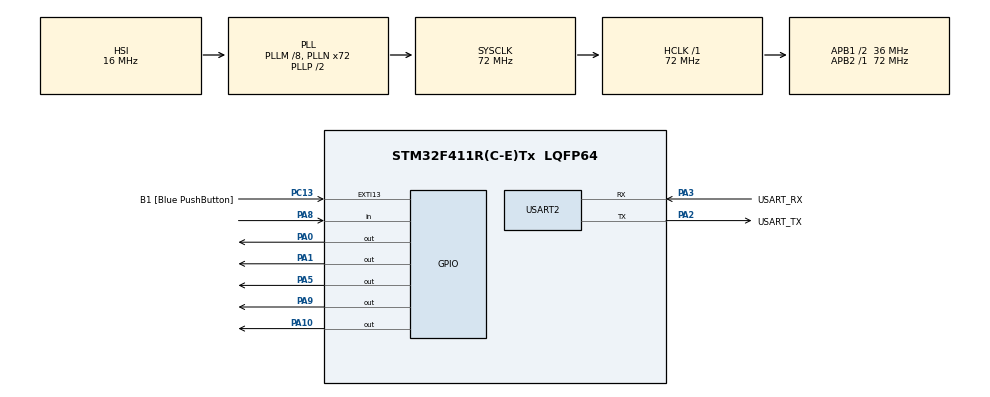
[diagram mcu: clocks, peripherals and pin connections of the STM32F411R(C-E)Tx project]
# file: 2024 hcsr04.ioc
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Mcu.Family=STM32F4
Mcu.Name=STM32F411R(C-E)Tx
Mcu.Package=LQFP64
NVIC.PriorityGroup=NVIC_PRIORITYGROUP_0
PA0-WKUP.Signal=GPIO_Output
PA1.Signal=GPIO_Output
PA10.Signal=GPIO_Output
PA13.GPIO_Label=TMS
PA13.Mode=Serial_Wire
PA13.Signal=SYS_JTMS-SWDIO
PA14.GPIO_Label=TCK
PA14.Mode=Serial_Wire
PA14.Signal=SYS_JTCK-SWCLK
PA2.GPIO_Label=USART_TX
PA2.Mode=Asynchronous
PA2.Signal=USART2_TX
PA3.GPIO_Label=USART_RX
PA3.Mode=Asynchronous
PA3.Signal=USART2_RX
PA5.Signal=GPIO_Output
PA8.Signal=GPIO_Input
PA9.Signal=GPIO_Output
PB3.GPIO_Label=SWO
PB3.Signal=SYS_JTDO-SWO
PC13-ANTI_TAMP.GPIO_Label=B1 [Blue PushButton]
PC13-ANTI_TAMP.GPIO_ModeDefaultEXTI=GPIO_MODE_IT_FALLING
PC13-ANTI_TAMP.Signal=GPXTI13
PC14-OSC32_IN.Mode=LSE-External-Oscillator
PC14-OSC32_IN.Signal=RCC_OSC32_IN
PC15-OSC32_OUT.Mode=LSE-External-Oscillator
PC15-OSC32_OUT.Signal=RCC_OSC32_OUT
PH0\ -\ OSC_IN.Mode=HSE-External-Oscillator
PH0\ -\ OSC_IN.Signal=RCC_OSC_IN
PH1\ -\ OSC_OUT.Mode=HSE-External-Oscillator
PH1\ -\ OSC_OUT.Signal=RCC_OSC_OUT
ProjectManager.HeapSize=0x200
ProjectManager.StackSize=0x400
ProjectManager.TargetToolchain=STM32CubeIDE
RCC.48MHZClocksFreq_Value=36000000
RCC.AHBFreq_Value=72000000
RCC.APB1CLKDivider=RCC_HCLK_DIV2
RCC.APB1Freq_Value=36000000
RCC.APB1TimFreq_Value=72000000
RCC.APB2Freq_Value=72000000
RCC.APB2TimFreq_Value=72000000
RCC.CortexFreq_Value=72000000
RCC.FLatency-AdvancedSettings=FLASH_LATENCY_2
RCC.HCLKFreq_Value=72000000
RCC.HSE_VALUE=8000000
RCC.HSI_VALUE=16000000
RCC.PLLM=8
RCC.PLLN=72
RCC.SYSCLKFreq_VALUE=72000000
RCC.SYSCLKSource=RCC_SYSCLKSOURCE_PLLCLK
RCC.VCOOutputFreq_Value=144000000
TIM1.Prescaler=71
USART2.VirtualMode=VM_ASYNC
VP_TIM1_VS_ClockSourceINT.Mode=Internal
board=NUCLEO-F411RE

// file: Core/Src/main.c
/* USER CODE BEGIN Header */
/**
  ******************************************************************************
  * @file           : main.c
  * @brief          : Main program body
  ******************************************************************************
  * @attention
  *
  * Copyright (c) 2024 STMicroelectronics.
  * All rights reserved.
  *
  * This software is licensed under terms that can be found in the LICENSE file
  * in the root directory of this software component.
  * If no LICENSE file comes with this software, it is provided AS-IS.
  *
  ******************************************************************************
  */
/* USER CODE END Header */
#include "main.h"

TIM_HandleTypeDef htim1;

UART_HandleTypeDef huart2;

/* USER CODE BEGIN PV */
#define TRIG_PIN GPIO_PIN_9
#define TRIG_PORT GPIOA
#define ECHO_PIN GPIO_PIN_8
#define ECHO_PORT GPIOA
uint32_t pMillis;
uint32_t Value1 = 0;
uint32_t Value2 = 0;
uint16_t Distance  = 0;  // cm
uint8_t buffer[20];
/* USER CODE END PV */

void SystemClock_Config(void);
static void MX_GPIO_Init(void);
static void MX_USART2_UART_Init(void);
static void MX_TIM1_Init(void);

int main(void)
{

  /* MCU Configuration--------------------------------------------------------*/

  /* Reset of all peripherals, Initializes the Flash interface and the Systick. */
  HAL_Init();

  /* Configure the system clock */
  SystemClock_Config();

  /* Initialize all configured peripherals */
  MX_GPIO_Init();
  MX_USART2_UART_Init();
  MX_TIM1_Init();
  /* USER CODE BEGIN 2 */
  HAL_TIM_Base_Start(&htim1);
    HAL_GPIO_WritePin(TRIG_PORT, TRIG_PIN, GPIO_PIN_RESET);  // pull the TRIG pin low
  /* USER CODE END 2 */

  /* Infinite loop */
  /* USER CODE BEGIN WHILE */
  while (1)
  {
	  HAL_GPIO_WritePin(TRIG_PORT, TRIG_PIN, GPIO_PIN_SET);  // pull the TRIG pin HIGH
	     __HAL_TIM_SET_COUNTER(&htim1, 0);
	     while (__HAL_TIM_GET_COUNTER (&htim1) < 10);  // wait for 10 us
	     HAL_GPIO_WritePin(TRIG_PORT, TRIG_PIN, GPIO_PIN_RESET);  // pull the TRIG pin low

	     pMillis = HAL_GetTick(); // used this to avoid infinite while loop  (for timeout)
	     // wait for the echo pin to go high
	     while (!(HAL_GPIO_ReadPin (ECHO_PORT, ECHO_PIN)) && pMillis + 10 >  HAL_GetTick());
	     Value1 = __HAL_TIM_GET_COUNTER (&htim1);

	     pMillis = HAL_GetTick(); // used this to avoid infinite while loop (for timeout)
	     // wait for the echo pin to go low
	     while ((HAL_GPIO_ReadPin (ECHO_PORT, ECHO_PIN)) && pMillis + 50 > HAL_GetTick());
	     Value2 = __HAL_TIM_GET_COUNTER (&htim1);

	     Distance = (Value2-Value1)* 0.034/2;
	     HAL_Delay(50);

		 sprintf(buffer, "Distance %d \r\n", Distance);
				 HAL_UART_Transmit(&huart2, buffer, strlen(buffer), HAL_MAX_DELAY);

				 if(Distance > 40)
				 {
					 HAL_GPIO_WritePin(GPIOA, GPIO_PIN_10, GPIO_PIN_RESET);
					 HAL_GPIO_WritePin(GPIOA, GPIO_PIN_1, GPIO_PIN_RESET);
					 HAL_GPIO_WritePin(GPIOA, GPIO_PIN_0, GPIO_PIN_SET);
				 }
				  if(Distance < 30){
					 HAL_GPIO_WritePin(GPIOA, GPIO_PIN_10, GPIO_PIN_RESET);
					 HAL_GPIO_WritePin(GPIOA, GPIO_PIN_0, GPIO_PIN_RESET);
					 HAL_GPIO_WritePin(GPIOA, GPIO_PIN_1, GPIO_PIN_SET);
				 }
				 if(Distance < 15){
					 HAL_GPIO_WritePin(GPIOA, GPIO_PIN_0, GPIO_PIN_RESET);
					 HAL_GPIO_WritePin(GPIOA, GPIO_PIN_1, GPIO_PIN_RESET);
				     HAL_GPIO_WritePin(GPIOA, GPIO_PIN_10, GPIO_PIN_SET);}
    /* USER CODE END WHILE */

  }
}

void SystemClock_Config(void)
{
  RCC_OscInitTypeDef RCC_OscInitStruct = {0};
  RCC_ClkInitTypeDef RCC_ClkInitStruct = {0};

  /** Configure the main internal regulator output voltage
  */
  __HAL_RCC_PWR_CLK_ENABLE();
  __HAL_PWR_VOLTAGESCALING_CONFIG(PWR_REGULATOR_VOLTAGE_SCALE1);

  /** Initializes the RCC Oscillators according to the specified parameters
  * in the RCC_OscInitTypeDef structure.
  */
  RCC_OscInitStruct.OscillatorType = RCC_OSCILLATORTYPE_HSI;
  RCC_OscInitStruct.HSIState = RCC_HSI_ON;
  RCC_OscInitStruct.HSICalibrationValue = RCC_HSICALIBRATION_DEFAULT;
  RCC_OscInitStruct.PLL.PLLState = RCC_PLL_ON;
  RCC_OscInitStruct.PLL.PLLSource = RCC_PLLSOURCE_HSI;
  RCC_OscInitStruct.PLL.PLLM = 8;
  RCC_OscInitStruct.PLL.PLLN = 72;
  RCC_OscInitStruct.PLL.PLLP = RCC_PLLP_DIV2;
  RCC_OscInitStruct.PLL.PLLQ = 4;
  if (HAL_RCC_OscConfig(&RCC_OscInitStruct) != HAL_OK)
  {
    Error_Handler();
  }

  /** Initializes the CPU, AHB and APB buses clocks
  */
  RCC_ClkInitStruct.ClockType = RCC_CLOCKTYPE_HCLK|RCC_CLOCKTYPE_SYSCLK
                              |RCC_CLOCKTYPE_PCLK1|RCC_CLOCKTYPE_PCLK2;
  RCC_ClkInitStruct.SYSCLKSource = RCC_SYSCLKSOURCE_PLLCLK;
  RCC_ClkInitStruct.AHBCLKDivider = RCC_SYSCLK_DIV1;
  RCC_ClkInitStruct.APB1CLKDivider = RCC_HCLK_DIV2;
  RCC_ClkInitStruct.APB2CLKDivider = RCC_HCLK_DIV1;

  if (HAL_RCC_ClockConfig(&RCC_ClkInitStruct, FLASH_LATENCY_2) != HAL_OK)
  {
    Error_Handler();
  }
}

static void MX_TIM1_Init(void)
{

  TIM_ClockConfigTypeDef sClockSourceConfig = {0};
  TIM_MasterConfigTypeDef sMasterConfig = {0};

  htim1.Instance = TIM1;
  htim1.Init.Prescaler = 71;
  htim1.Init.CounterMode = TIM_COUNTERMODE_UP;
  htim1.Init.Period = 65535;
  htim1.Init.ClockDivision = TIM_CLOCKDIVISION_DIV1;
  htim1.Init.RepetitionCounter = 0;
  htim1.Init.AutoReloadPreload = TIM_AUTORELOAD_PRELOAD_DISABLE;
  if (HAL_TIM_Base_Init(&htim1) != HAL_OK)
  {
    Error_Handler();
  }
  sClockSourceConfig.ClockSource = TIM_CLOCKSOURCE_INTERNAL;
  if (HAL_TIM_ConfigClockSource(&htim1, &sClockSourceConfig) != HAL_OK)
  {
    Error_Handler();
  }
  sMasterConfig.MasterOutputTrigger = TIM_TRGO_RESET;
  sMasterConfig.MasterSlaveMode = TIM_MASTERSLAVEMODE_DISABLE;
  if (HAL_TIMEx_MasterConfigSynchronization(&htim1, &sMasterConfig) != HAL_OK)
  {
    Error_Handler();
  }

}

static void MX_USART2_UART_Init(void)
{

  huart2.Instance = USART2;
  huart2.Init.BaudRate = 115200;
  huart2.Init.WordLength = UART_WORDLENGTH_8B;
  huart2.Init.StopBits = UART_STOPBITS_1;
  huart2.Init.Parity = UART_PARITY_NONE;
  huart2.Init.Mode = UART_MODE_TX_RX;
  huart2.Init.HwFlowCtl = UART_HWCONTROL_NONE;
  huart2.Init.OverSampling = UART_OVERSAMPLING_16;
  if (HAL_UART_Init(&huart2) != HAL_OK)
  {
    Error_Handler();
  }

}

static void MX_GPIO_Init(void)
{
  GPIO_InitTypeDef GPIO_InitStruct = {0};

  /* GPIO Ports Clock Enable */
  __HAL_RCC_GPIOC_CLK_ENABLE();
  __HAL_RCC_GPIOH_CLK_ENABLE();
  __HAL_RCC_GPIOA_CLK_ENABLE();
  __HAL_RCC_GPIOB_CLK_ENABLE();

  /*Configure GPIO pin Output Level */
  HAL_GPIO_WritePin(GPIOA, GPIO_PIN_0|GPIO_PIN_1|GPIO_PIN_5|GPIO_PIN_9
                          |GPIO_PIN_10, GPIO_PIN_RESET);

  /*Configure GPIO pin : B1_Pin */
  GPIO_InitStruct.Pin = B1_Pin;
  GPIO_InitStruct.Mode = GPIO_MODE_IT_FALLING;
  GPIO_InitStruct.Pull = GPIO_NOPULL;
  HAL_GPIO_Init(B1_GPIO_Port, &GPIO_InitStruct);

  /*Configure GPIO pins : PA0 PA1 PA5 PA9
                           PA10 */
  GPIO_InitStruct.Pin = GPIO_PIN_0|GPIO_PIN_1|GPIO_PIN_5|GPIO_PIN_9
                          |GPIO_PIN_10;
  GPIO_InitStruct.Mode = GPIO_MODE_OUTPUT_PP;
  GPIO_InitStruct.Pull = GPIO_NOPULL;
  GPIO_InitStruct.Speed = GPIO_SPEED_FREQ_LOW;
  HAL_GPIO_Init(GPIOA, &GPIO_InitStruct);

  /*Configure GPIO pin : PA8 */
  GPIO_InitStruct.Pin = GPIO_PIN_8;
  GPIO_InitStruct.Mode = GPIO_MODE_INPUT;
  GPIO_InitStruct.Pull = GPIO_NOPULL;
  HAL_GPIO_Init(GPIOA, &GPIO_InitStruct);

}

void Error_Handler(void)
{
  __disable_irq();
  while (1)
  {
  }
}
